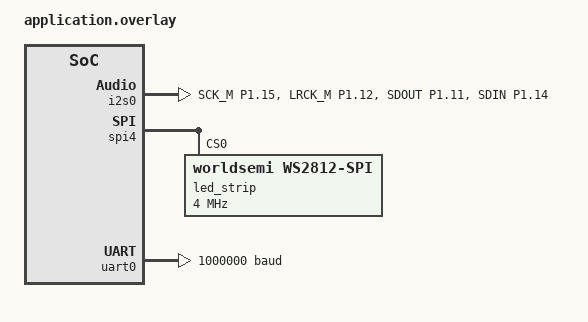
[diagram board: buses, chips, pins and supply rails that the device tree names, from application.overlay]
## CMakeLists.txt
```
cmake_minimum_required(VERSION 3.20.0)
find_package(Zephyr REQUIRED HINTS $ENV{ZEPHYR_BASE})

project(Application)

target_sources(app PRIVATE src/main.cpp)

# External Modules
add_subdirectory(components/Aled)
add_subdirectory(components/DeviceStatus)
add_subdirectory(components/TAS5825M)
```

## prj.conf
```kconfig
CONFIG_LOG=y
# Enable RTT support
CONFIG_USE_SEGGER_RTT=y 

# Set the logging backend to use RTT
CONFIG_LOG_BACKEND_RTT=y

CONFIG_LED_STRIP=y
CONFIG_LED_STRIP_LOG_LEVEL_DBG=y
CONFIG_WS2812_STRIP_I2S=y

# CONFIG_WS2812_STRIP_GPIO=y
CONFIG_I2S=y
```

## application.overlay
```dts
/*
 * Copyright (c) 2019, Nordic Semiconductor ASA
 *
 * SPDX-License-Identifier: Apache-2.0
 */

 #include <zephyr/dt-bindings/gpio/gpio.h>
 #include <zephyr/dt-bindings/led/led.h>
 
//  / {
//      led_strip: ws2812 {
//          compatible = "worldsemi,ws2812-gpio";
 
//          chain-length = <16>; /* arbitrary */
//          color-mapping = <LED_COLOR_ID_GREEN
//                   LED_COLOR_ID_RED
//                   LED_COLOR_ID_BLUE>;
//          /*
//           * Arduino D11 / P0.25, which was chosen to match the pin
//           * used in nrf52dk_nrf52832.overlay.
//           */
//           gpios = <&gpio0 25 0>;
//      };
 
//      aliases {
//          led-strip = &led_strip;
//      };
//  };

&pinctrl {
	i2s0_default_alt: i2s0_default_alt {
		group1 {
			/* Default I2S config for the nRF5340, P1.13 is the output */
			psels = <NRF_PSEL(I2S_SCK_M, 1, 15)>,
				<NRF_PSEL(I2S_LRCK_M, 1, 12)>,
				<NRF_PSEL(I2S_SDOUT, 1, 11)>,
				<NRF_PSEL(I2S_SDIN, 1, 14)>;
		};
	};
};

&clock {
	hfclkaudio-frequency = <11289600>;
};

i2s_speaker: &i2s0 {
	status = "okay";
	pinctrl-0 = <&i2s0_default_alt>;
	pinctrl-names = "default";
	clock-source = "ACLK";
};

// i2s_tx: &i2s0 {
// 	status = "okay";
// 	pinctrl-0 = <&i2s0_default_alt>;
// 	pinctrl-names = "default";

// 	led_strip: ws2812 {
// 		compatible = "worldsemi,ws2812-i2s";

// 		i2s-dev = <&i2s_led>;
// 		chain-length = <3>; /* arbitrary; change at will */
// 		color-mapping = <LED_COLOR_ID_GREEN
// 					LED_COLOR_ID_RED
// 					LED_COLOR_ID_BLUE>;
// 		reset-delay = <500>;
// 	};
// };

&spi4 {
	led_strip: ws2812@0 {
		compatible = "worldsemi,ws2812-spi";

		/* SPI */
		reg = <0>; /* ignored, but necessary for SPI bindings */
		spi-max-frequency = <4000000>;
		frame-format = <32768>; /* SPI_FRAME_FORMAT_TI */

		/* WS2812 */
		chain-length = <8>; /* arbitrary; change at will */
		spi-one-frame = <0x70>;
		spi-zero-frame = <0x40>;
		color-mapping = <LED_COLOR_ID_GREEN
				 LED_COLOR_ID_RED
				 LED_COLOR_ID_BLUE>;
	};
};

&uart0 {
    current-speed = <1000000>;
};

/ {
	aliases {
		led-strip = &led_strip;
		speaker = &i2s_speaker;
	};
};
```

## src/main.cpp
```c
#include <zephyr/kernel.h>
#include "Aled.hpp"
#include "TAS5825M.h"

int main(void)
{
    printk("Ezlo Part 2\n");
    ALED aled;
    aled.init();
    TAS5825M_init();

    while (1)
    {
        TAS5825M_loop();
    }

    return 0;
}
```
